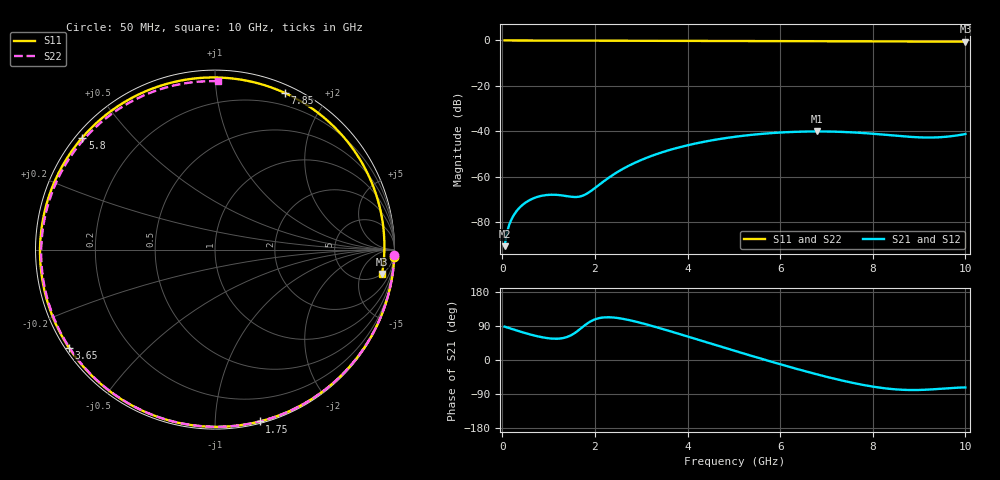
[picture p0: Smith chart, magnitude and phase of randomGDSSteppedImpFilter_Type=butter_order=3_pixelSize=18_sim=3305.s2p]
! freq	dB(S11)	phase(S11)	dB(S12)	phase(S12)
!  dB(S21)	phase(S21)	dB(S22)	phase(S22)
!S-par simulation data
#  GHz  S  DB  R 50
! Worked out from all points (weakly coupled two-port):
!   200 points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, 50 MHz to 10 GHz, reference 50 ohm
!   highest |S21| = -40.12 dB at 6.8 GHz (marker M1); lowest = -90.7 dB at 50 MHz (marker M2)
!   lowest |S11| = -0.5 dB at 10 GHz (marker M3), VSWR 32.63, Z = 249 - j585 ohm
!   |S11| at or under -10 dB: nowhere
!   |S22| runs from -0.6 to 0.0 dB; largest |S21 - S12| = 0
!   S11 on the Smith chart (normalised r, x): 50 MHz: 0, -51; 1.75 GHz: 0.01, -1.29; 3.65 GHz: 0.01, -0.30; 5.8 GHz: 0.02, +0.37; 7.85 GHz: 0.08, +1.54; 10 GHz: 5, -12
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0.05  -0.00 -2.3  -90.69 88.0  -90.69 88.0  -0.00 -1.8
0.15  -0.01 -6.8  -81.22 84.1  -81.22 84.1  -0.01 -5.3
0.4  -0.02 -17.9  -73.16 74.5  -73.16 74.5  -0.02 -14.1
0.75  -0.04 -33.3  -69.02 62.9  -69.02 62.9  -0.03 -26.2
1.25  -0.07 -54.8  -68.22 56.7  -68.22 56.7  -0.05 -43.1
1.55  -0.08 -67.3  -69.01 70.0  -69.01 70.0  -0.07 -53.0
1.75  -0.09 -75.4  -68.32 88.6  -68.32 88.6  -0.07 -59.5
2.1  -0.11 -89.3  -63.49 110.7  -63.49 110.7  -0.09 -70.4
2.5  -0.12 -104.7  -57.84 110.7  -57.84 110.7  -0.10 -82.5
2.95  -0.14 -121.3  -53.13 99.2  -53.13 99.2  -0.12 -95.5
3.4  -0.16 -137.4  -49.64 84.1  -49.64 84.1  -0.13 -107.9
3.65  -0.17 -146.2  -48.07 75.0  -48.07 75.0  -0.14 -114.6
4.35  -0.21 -170.3  -44.69 49.1  -44.69 49.1  -0.17 -132.5
5.05  -0.24 165.8  -42.40 23.1  -42.40 23.1  -0.20 -149.6
5.8  -0.29 139.8  -40.86 -4.1  -40.86 -4.1  -0.24 -167.3
6.7  -0.34 107.8  -40.12 -34.8  -40.12 -34.8  -0.30 171.8
6.8  -0.34 104.2  -40.12 -38.0  -40.12 -38.0  -0.31 169.4
7.3  -0.37 86.0  -40.29 -53.1  -40.29 -53.1  -0.35 157.7
7.85  -0.39 65.9  -40.89 -67.1  -40.89 -67.1  -0.39 144.5
8.35  -0.42 47.7  -41.72 -75.9  -41.72 -75.9  -0.43 132.2
9.15  -0.46 19.6  -42.80 -78.4  -42.80 -78.4  -0.49 111.8
10  -0.53 -8.3  -41.26 -72.4  -41.26 -72.4  -0.55 89.1
